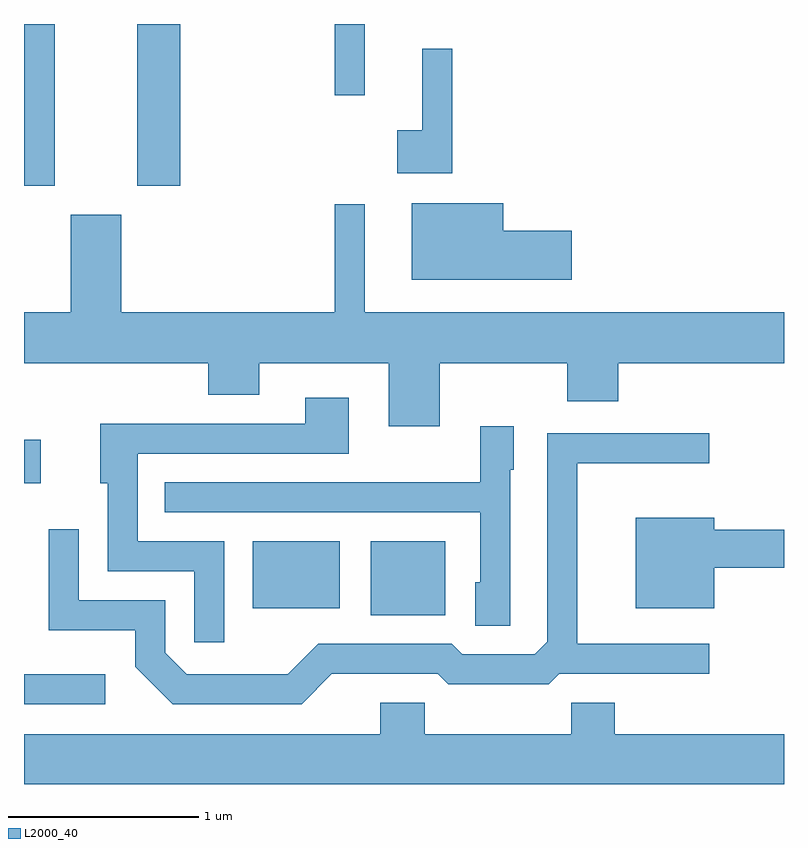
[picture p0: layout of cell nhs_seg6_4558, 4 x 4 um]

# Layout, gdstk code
import gdstk
lib = gdstk.Library(unit=1e-6, precision=1e-09)
def R(c, l, rs):  # rectangles x0, y0, x1, y1
    for r in rs: c.add(gdstk.rectangle(r[:2], r[2:], *l))
def P(c, l, *ps):  # polygons
    for p in ps: c.add(gdstk.Polygon(p, *l))
L2000_40 = (2000, 40)

nhs_seg6_4558 = lib.new_cell('nhs_seg6_4558')
R(nhs_seg6_4558, L2000_40, [(323.611,1652.581,324.038,1652.739), (325.436,1653.051,325.829,1653.439), (324.816,1653.086,325.274,1653.439), (323.611,1653.746,323.699,1653.974), (323.611,1655.311,323.774,1656.162), (324.206,1655.311,324.434,1656.162), (325.246,1655.788,325.404,1656.162)])
P(nhs_seg6_4558, L2000_40, [(325.864,1656.033),(325.706,1656.033),(325.706,1655.604),(325.576,1655.604),(325.576,1655.376),(325.864,1655.376)],
  [(326.494,1655.074),(326.134,1655.074),(326.134,1655.219),(325.651,1655.219),(325.651,1654.816),(326.494,1654.816)],
  [(325.799,1654.376),(326.471,1654.376),(326.471,1654.176),(326.739,1654.176),(326.739,1654.376),(327.611,1654.376),(327.611,1654.644),(325.404,1654.644),(325.404,1655.213),(325.246,1655.213),(325.246,1654.644),(324.124,1654.644),(324.124,1655.159),(323.856,1655.159),(323.856,1654.644),(323.611,1654.644),(323.611,1654.376),(324.581,1654.376),(324.581,1654.211),(324.849,1654.211),(324.849,1654.376),(325.531,1654.376),(325.531,1654.046),(325.799,1654.046)],
  [(324.664,1653.439),(324.209,1653.439),(324.209,1653.901),(325.319,1653.901),(325.319,1654.194),(325.091,1654.194),(325.091,1654.059),(324.011,1654.059),(324.011,1653.746),(324.051,1653.746),(324.051,1653.281),(324.506,1653.281),(324.506,1652.908),(324.664,1652.908)],
  [(326.169,1653.816),(326.189,1653.816),(326.189,1654.044),(326.011,1654.044),(326.011,1653.749),(324.353,1653.749),(324.353,1653.591),(326.011,1653.591),(326.011,1653.224),(325.986,1653.224),(325.986,1652.996),(326.169,1652.996)],
  [(325.232,1652.741),(325.789,1652.741),(325.844,1652.686),(326.372,1652.686),(326.427,1652.741),(327.218,1652.741),(327.218,1652.899),(326.524,1652.899),(326.524,1653.851),(327.218,1653.851),(327.218,1654.009),(326.366,1654.009),(326.366,1652.912),(326.299,1652.844),(325.917,1652.844),(325.862,1652.899),(325.159,1652.899),(324.999,1652.739),(324.467,1652.739),(324.354,1652.852),(324.354,1653.129),(323.899,1653.129),(323.899,1653.503),(323.741,1653.503),(323.741,1652.971),(324.196,1652.971),(324.196,1652.779),(324.394,1652.581),(325.072,1652.581)],
  [(327.244,1653.301),(327.611,1653.301),(327.611,1653.499),(327.244,1653.499),(327.244,1653.564),(326.831,1653.564),(326.831,1653.086),(327.244,1653.086)],
  [(327.611,1652.424),(326.719,1652.424),(326.719,1652.589),(326.491,1652.589),(326.491,1652.424),(325.719,1652.424),(325.719,1652.589),(325.486,1652.589),(325.486,1652.424),(323.611,1652.424),(323.611,1652.162),(327.611,1652.162)])

lib.write_gds('nhs_seg6_4558.gds')
